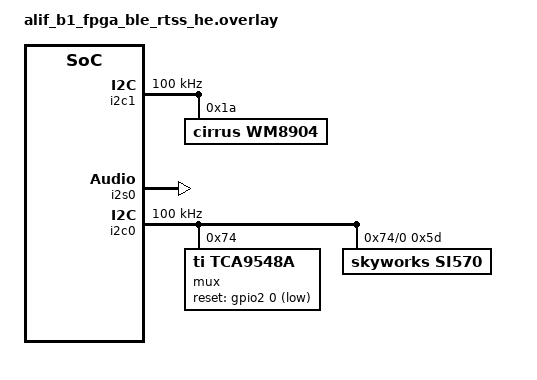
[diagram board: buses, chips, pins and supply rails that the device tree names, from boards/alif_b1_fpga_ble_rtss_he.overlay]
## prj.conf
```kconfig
# Copyright (C) 2023 Alif Semiconductor - All Rights Reserved.
# Use, distribution and modification of this code is permitted under the
# terms stated in the Alif Semiconductor Software License Agreement
#
# You should have received a copy of the Alif Semiconductor Software
# License Agreement with this file. If not, please write to:
# contact@alifsemi.com, or visit: https://alifsemi.com/license

CONFIG_USE_SEGGER_RTT=y
CONFIG_RTT_CONSOLE=y

CONFIG_LOG=y
CONFIG_ASSERT=y

CONFIG_I2C=y

CONFIG_WM8904=y
CONFIG_WM8904_LOG_LEVEL_DBG=y

CONFIG_SI570=y
CONFIG_SI570_LOG_LEVEL_DBG=y

CONFIG_I2C_INIT_PRIORITY=50
CONFIG_WM8904_INIT_PRIORITY=53

CONFIG_I2S=y
CONFIG_I2S_SYNC_BUFFER_FORMAT_SEQUENTIAL=n
CONFIG_DMA=y

# Needed for math functions
CONFIG_NEWLIB_LIBC=y
```

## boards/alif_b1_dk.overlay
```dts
/* Copyright Alif Semiconductor - All Rights Reserved.
 * Use, distribution and modification of this code is permitted under the
 * terms stated in the Alif Semiconductor Software License Agreement
 *
 * You should have received a copy of the Alif Semiconductor Software
 * License Agreement with this file. If not, please write to:
 * contact@alifsemi.com, or visit: https://alifsemi.com/license
 *
 */

#include <dt-bindings/pinctrl/balletto-pinctrl.h>
#include <dt-bindings/i2c/i2c.h>
#include <dt-bindings/gpio/gpio.h>

#define I2S0_IRQ_NUM  141
#define I2S0_IRQ_PRIO 3

#define I2S0_DMA_RX_CH  2
#define I2S0_DMA_RX_REQ 24
#define I2S0_DMA_TX_CH  3
#define I2S0_DMA_TX_REQ 28

#define AUDIO_DMA_ENABLED 1


/ {
	aliases {
		audio-codec = &wm8904;
		i2s-bus = &i2s0;
	};
};

&dma2 {
	status = "okay";
	dma-channels = <8>;
	interrupts = <0 3>, <1 3>, <2 3>, <3 3>, <4 3>, <5 3>,
		     <6 3>, <7 3>, <32 3>;
	interrupt-names = "channel0", "channel1",
			  "channel2", "channel3",
			  "channel4", "channel5",
			  "channel6", "channel7",
			  "abort";
};

&i2c1 {
	clock-frequency = <I2C_BITRATE_STANDARD>;
	status = "okay";

	wm8904: wm8904@1a {
		compatible = "cirrus,wm8904";
		reg = <0x1a>;
		status = "okay";
	};
};

#include <zephyr/dt-bindings/dma/alif_dma_event_router.h>

&evtrtr2 {
	status = "okay";
};

&i2s0 {
	/delete-property/ clock-frequency;
	/delete-property/ driver-instance;
	compatible = "alif,i2s-sync";
	interrupts = <I2S0_IRQ_NUM I2S0_IRQ_PRIO>;
	bit-depth = <16>;
	sample-rate = <48000>;
	status = "okay";
#if AUDIO_DMA_ENABLED
	/*
	 * Cell 0: ALIF_DMA_ENCODE(channel, dma_group, handshake)
	 *   - channel: Physical DMA channel (2 for RX, 3 for TX)
	 *   - dma_group: Input source selection (1) - selects which peripheral input
	 *   - handshake: Enable hardware handshaking (1 for I2S)
	 * Cell 1: Peripheral request number (24 for RX, 28 for TX)
	 */
	dmas = <&evtrtr2 ALIF_DMA_ENCODE(I2S0_DMA_RX_CH, 1, 1) I2S0_DMA_RX_REQ>,
	       <&evtrtr2 ALIF_DMA_ENCODE(I2S0_DMA_TX_CH, 1, 1) I2S0_DMA_TX_REQ>;
	dma-names = "rxdma", "txdma";
#endif
};

&pinctrl_i2c1 {
	group0 {
		pinmux = <PIN_P7_3__I2C1_SCL_C>,
			 <PIN_P7_2__I2C1_SDA_C>;
	};
};

&pinctrl_i2s0 {
	group0 {
		pinmux = <PIN_P2_4__I2S0_SDI_B>,
			 <PIN_P2_5__I2S0_SDO_B>,
			 <PIN_P1_7__I2S0_WS_A>,
			 <PIN_P1_6__I2S0_SCLK_A>;
	};
};

/* Disable unnecessary nodes */
&i2s1 {
	status = "disabled";
};

&uart_ahi {
	status = "disabled";
};
```

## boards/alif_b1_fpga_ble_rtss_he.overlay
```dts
/* Copyright (C) 2023 Alif Semiconductor - All Rights Reserved.
 * Use, distribution and modification of this code is permitted under the
 * terms stated in the Alif Semiconductor Software License Agreement
 *
 * You should have received a copy of the Alif Semiconductor Software
 * License Agreement with this file. If not, please write to:
 * contact@alifsemi.com, or visit: https://alifsemi.com/license
 *
 */

#include <dt-bindings/pinctrl/balletto-pinctrl.h>
#include <dt-bindings/i2c/i2c.h>
#include <dt-bindings/gpio/gpio.h>

/ {
	aliases {
		audio-codec = &wm8904;
		i2s-bus = &i2s0;
	};

	soc {
		i2c1: i2c0@49011000 {
			compatible = "snps,designware-i2c";
			clock-frequency = <I2C_BITRATE_STANDARD>;
			#address-cells = <1>;
			#size-cells = <0>;
			reg = <0x49011000 0x1000>;
			pinctrl-0 = < &pinctrl_i2c1 >;
			pinctrl-names = "default";
			interrupt-parent = <&nvic>;
			interrupts = <133 3>;
			status = "okay";

			wm8904: wm8904@1a {
				compatible = "cirrus,wm8904";
				reg = <0x1a>;
				status = "okay";
			};
		};

		i2s0: i2s0@49014000 {
			compatible = "alif,ensemble-i2s";
			reg = <0x49014000 0x1000>;
			pinctrl-names = "default";
			pinctrl-0 = <&pinctrl_i2s0>;
			interrupts = <141 3>;
			status = "okay";
		};

		i2c0: i2c0@49010000 {
			compatible = "snps,designware-i2c";
			clock-frequency = <I2C_BITRATE_STANDARD>;
			#address-cells = <1>;
			#size-cells = <0>;
			reg = <0x49010000 0x1000>;
			pinctrl-0 = < &pinctrl_i2c0 >;
			pinctrl-names = "default";
			interrupt-parent = <&nvic>;
			interrupts = <132 3>;
			status = "okay";

			mux: tca9548a@74 {
				compatible = "ti,tca9548a";
				reg = <0x74>;
				status = "okay";
				#address-cells = <1>;
				#size-cells = <0>;
				reset-gpios = <&gpio2 0 GPIO_ACTIVE_LOW>;

				ch0: mux_i2c@0 {
					compatible = "ti,tca9548a-channel";
					reg = <0>;
					status = "okay";
					#address-cells = <1>;
					#size-cells = <0>;

					si570: si570@5d {
						compatible = "skyworks,si570";
						reg = <0x5d>;
						factory-fout = <156250000>;
						initial-freq = <12288000>;
					};
				};
			};
		};
	};
};

&pinctrl {
	pinctrl_i2c1: pinctrl_i2c1 {
		group0 {
			/* Note: defined pinmux names are wrong so just setting numbers directly */
			pinmux = < PINMUX_PIN(PIN_P2_6, 3) >, /* I2C1 SCL */
				 	 < PINMUX_PIN(PIN_P2_7, 3) >; /* I2C1 SDA */
			read_enable = < 0x1 >;
		};
	};

	pinctrl_i2s0:pinctrl_i2s0 {
		group0 {
			/* Note: defined pinmux names are wrong so just setting numbers directly */
			pinmux = < PINMUX_PIN(PIN_P1_4, 2) >, /* I2S0 SDI A  */
				 	 < PINMUX_PIN(PIN_P1_5, 2) >, /* I2S0 SDO A  */
				 	 < PINMUX_PIN(PIN_P1_7, 3) >, /* I2S0 WS A   */
				 	 < PINMUX_PIN(PIN_P1_6, 3) >; /* I2S0 SCLK A */
		};
	};

	pinctrl_i2c0: pinctrl_i2c0 {
		group0 {
			pinmux = < PIN_P2_4__I2C0_SCL_B >,
				 	 < PIN_P2_5__I2C0_SDA_B >;
			read_enable = < 0x1 >;
		};
	};
};
```

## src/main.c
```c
/* Copyright (C) 2023 Alif Semiconductor - All Rights Reserved.
 * Use, distribution and modification of this code is permitted under the
 * terms stated in the Alif Semiconductor Software License Agreement
 *
 * You should have received a copy of the Alif Semiconductor Software
 * License Agreement with this file. If not, please write to:
 * contact@alifsemi.com, or visit: https://alifsemi.com/license
 */

#include <zephyr/kernel.h>
#include <zephyr/logging/log.h>
#include <zephyr/sys/__assert.h>
#include <zephyr/device.h>
#include <zephyr/drivers/i2s.h>
#include <math.h>

#define I2S_WORD_SIZE_BITS                16
#define I2S_WORD_SIZE_BYTES               (I2S_WORD_SIZE_BITS / 8)
#define I2S_CHANNEL_COUNT                 2
#define I2S_SAMPLE_FREQUENCY              48000
#define I2S_SAMPLES_PER_CHANNEL_PER_FRAME 480
#define I2S_TIMEOUT_MS                    SYS_FOREVER_MS
#define I2S_BLOCK_COUNT                   5
#define I2S_MEM_ALIGN                     4
#define I2S_BLOCK_SIZE_BYTES                                                                       \
	(I2S_SAMPLES_PER_CHANNEL_PER_FRAME * I2S_CHANNEL_COUNT * I2S_WORD_SIZE_BYTES)

#define SIGNAL_AMPLITUDE 4000.0f
#define SIGNAL_FREQUENCY 400.0f
#define PI               3.14159265358979323846f /* M_PI is missing from math.h */

LOG_MODULE_REGISTER(main);

#define CODEC_NODE DT_ALIAS(audio_codec)
static const struct device *codec_dev = DEVICE_DT_GET(CODEC_NODE);

#define I2S_NODE DT_ALIAS(i2s_bus)
static const struct device *i2s_dev = DEVICE_DT_GET(I2S_NODE);

K_MEM_SLAB_DEFINE_STATIC(i2s_mem, I2S_BLOCK_SIZE_BYTES, I2S_BLOCK_COUNT, I2S_MEM_ALIGN);

static int16_t tx_data_block[I2S_CHANNEL_COUNT * I2S_SAMPLES_PER_CHANNEL_PER_FRAME];

static void tx_data_populate(void)
{
	/* Populate the TX data with a constant frequency signal */
	for (uint32_t i = 0; i < I2S_SAMPLES_PER_CHANNEL_PER_FRAME; i++) {
		int16_t *left = &tx_data_block[i * I2S_CHANNEL_COUNT];
		int16_t *right = &tx_data_block[i * I2S_CHANNEL_COUNT + 1];

		int16_t sample = SIGNAL_AMPLITUDE *
				 sinf((2.0f * PI * SIGNAL_FREQUENCY * i) / I2S_SAMPLE_FREQUENCY);
		*left = sample;
		*right = sample;
	}
}

static int write_one_block(const struct device *dev, k_timeout_t timeout)
{
	void *mem_block;

	int ret = k_mem_slab_alloc(&i2s_mem, &mem_block, timeout);

	if (ret) {
		LOG_ERR("Failed to allocate slab, err %d", ret);
		return ret;
	}

	memcpy(mem_block, tx_data_block, I2S_BLOCK_SIZE_BYTES);

	ret = i2s_write(dev, mem_block, I2S_BLOCK_SIZE_BYTES);
	if (ret) {
		LOG_ERR("Failed to write to I2S, err %d", ret);
		return ret;
	}

	return 0;
}

static int i2s_buffers_fill(const struct device *dev)
{
	for (uint32_t i = 0; i < I2S_BLOCK_COUNT; i++) {
		int ret = write_one_block(dev, K_NO_WAIT);

		if (ret) {
			return ret;
		}
	}

	return 0;
}

int main(void)
{
	LOG_INF("WM8904 demo starting");

	if (!device_is_ready(codec_dev)) {
		LOG_ERR("WM8904 codec is not ready");
		return -1;
	}

	if ((!device_is_ready(i2s_dev))) {
		LOG_ERR("I2S device is not ready");
		return -1;
	}

	tx_data_populate();

	struct i2s_config i2s_cfg = {.word_size = I2S_WORD_SIZE_BITS,
				     .channels = I2S_CHANNEL_COUNT,
				     .format = I2S_FMT_DATA_FORMAT_I2S,
				     .options = I2S_OPT_FRAME_CLK_MASTER | I2S_OPT_BIT_CLK_MASTER,
				     .frame_clk_freq = I2S_SAMPLE_FREQUENCY,
				     .mem_slab = &i2s_mem,
				     .block_size = I2S_BLOCK_SIZE_BYTES,
				     .timeout = I2S_TIMEOUT_MS};

	int ret = i2s_configure(i2s_dev, I2S_DIR_TX, &i2s_cfg);

	if (ret) {
		LOG_ERR("Failed to configure I2S, err %d", ret);
		return ret;
	}

	ret = i2s_buffers_fill(i2s_dev);
	if (ret) {
		LOG_ERR("Failed to fill I2S buffers, err %d", ret);
		return ret;
	}

	ret = i2s_trigger(i2s_dev, I2S_DIR_TX, I2S_TRIGGER_START);
	if (ret) {
		LOG_ERR("Failed to trigger I2S, err %d", ret);
		return ret;
	}

	LOG_INF("Triggered I2S start");

	uint32_t ctr = 0;

	while (1) {
		/* Continuously fill the I2S buffers. */
		ret = write_one_block(i2s_dev, K_FOREVER);
		if (ret) {
			LOG_ERR("Failed to fill I2S buffer");
			return ret;
		}

		ctr++;

		if ((ctr % 128) == 0) {
			LOG_INF("I2S blocks sent: %u", ctr);
		}
	}
}
```
